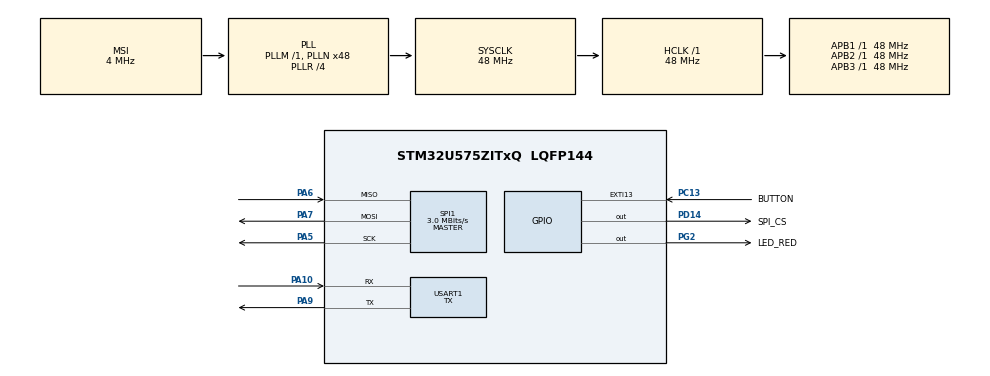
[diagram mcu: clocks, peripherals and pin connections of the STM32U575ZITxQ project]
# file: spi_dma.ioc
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CORTEX_M33_NS.userName=CORTEX_M33
GPDMA1.DESTINC_GPDMACH0=DMA_DINC_INCREMENTED
GPDMA1.DIRECTION_GPDMACH1=DMA_MEMORY_TO_PERIPH
GPDMA1.IPHANDLE_GPDMACH0-SIMPLEREQUEST_GPDMACH0=__NULL
GPDMA1.IPHANDLE_GPDMACH1-SIMPLEREQUEST_GPDMACH1=__NULL
GPDMA1.REQUEST_GPDMACH0=GPDMA1_REQUEST_SPI1_RX
GPDMA1.REQUEST_GPDMACH1=GPDMA1_REQUEST_SPI1_TX
GPDMA1.SRCINC_GPDMACH1=DMA_SINC_INCREMENTED
Mcu.Family=STM32U5
Mcu.Name=STM32U575ZITxQ
Mcu.Package=LQFP144
NVIC.EXTI13_IRQn=true\:5\:0\:true\:false\:true\:true\:true\:true
NVIC.GPDMA1_Channel0_IRQn=true\:5\:0\:true\:false\:true\:false\:true\:true
NVIC.GPDMA1_Channel1_IRQn=true\:5\:0\:true\:false\:true\:false\:true\:true
NVIC.PriorityGroup=NVIC_PRIORITYGROUP_4
NVIC.SPI1_IRQn=true\:5\:0\:true\:false\:true\:true\:true\:true
PA10.Mode=Asynchronous
PA10.Signal=USART1_RX
PA5.Mode=Full_Duplex_Master
PA5.Signal=SPI1_SCK
PA6.Mode=Full_Duplex_Master
PA6.Signal=SPI1_MISO
PA7.Mode=Full_Duplex_Master
PA7.Signal=SPI1_MOSI
PA9.Mode=Asynchronous
PA9.Signal=USART1_TX
PC13.GPIO_Label=BUTTON
PC13.GPIO_ModeDefaultEXTI=GPIO_MODE_IT_RISING_FALLING
PC13.Signal=GPXTI13
PC14-OSC32_IN\ (PC14).Mode=LSE-External-Oscillator
PC14-OSC32_IN\ (PC14).Signal=RCC_OSC32_IN
PC15-OSC32_OUT\ (PC15).Mode=LSE-External-Oscillator
PC15-OSC32_OUT\ (PC15).Signal=RCC_OSC32_OUT
PD14.GPIO_Label=SPI_CS
PD14.PinState=GPIO_PIN_SET
PD14.Signal=GPIO_Output
PG2.GPIO_Label=LED_RED
PG2.Signal=GPIO_Output
PWR.PowerMode=PWR_SMPS_SUPPLY
ProjectManager.HeapSize=0x200
ProjectManager.StackSize=0x400
ProjectManager.TargetToolchain=STM32CubeIDE
RCC.ADCFreq_Value=16000000
RCC.AHBFreq_Value=48000000
RCC.APB1Freq_Value=48000000
RCC.APB1TimFreq_Value=48000000
RCC.APB2Freq_Value=48000000
RCC.APB2TimFreq_Value=48000000
RCC.APB3Freq_Value=48000000
RCC.CortexFreq_Value=48000000
RCC.EPOD_VALUE=4000000
RCC.HCLKFreq_Value=48000000
RCC.HSE_VALUE=16000000
RCC.HSI48_VALUE=48000000
RCC.HSI_VALUE=16000000
RCC.LSIDIV_VALUE=32000
RCC.MSIAutoCalibration=PLLMODE_MSIS
RCC.MSI_VALUE=4000000
RCC.PLL1R=4
RCC.PLLN=48
RCC.SYSCLKFreq_VALUE=48000000
RCC.SYSCLKSource=RCC_SYSCLKSOURCE_PLLCLK
RCC.USBFreq_Value=48000000
RCC.VCOOutputFreq_Value=192000000
SPI1.BaudRatePrescaler=SPI_BAUDRATEPRESCALER_16
SPI1.CLKPhase=SPI_PHASE_2EDGE
SPI1.CLKPolarity=SPI_POLARITY_HIGH
SPI1.CalculateBaudRate=3.0 MBits/s
SPI1.DataSize=SPI_DATASIZE_8BIT
SPI1.Direction=SPI_DIRECTION_2LINES
SPI1.Mode=SPI_MODE_MASTER
SPI1.VirtualType=VM_MASTER
USART1.Mode=MODE_TX
USART1.VirtualMode-Asynchronous=VM_ASYNC
VP_GPDMA1_VS_GPDMACH0.Mode=SIMPLEREQUEST_GPDMACH0
VP_GPDMA1_VS_GPDMACH1.Mode=SIMPLEREQUEST_GPDMACH1
VP_ICACHE_VS_ICACHE.Mode=DirectMappedCache
VP_LPBAMQUEUE_VS_QUEUE.Mode=QUEUEMODE
VP_LPBAM_VS_SIG1.Mode=SmartRun
VP_LPBAM_VS_SIG4.Mode=LPDMA1
VP_MEMORYMAP_VS_MEMORYMAP.Mode=CurAppReg
VP_PWR_VS_LPOM.Mode=PowerOptimisation
VP_PWR_VS_SECSignals.Mode=Security/Privilege
board=custom

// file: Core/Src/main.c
/* USER CODE BEGIN Header */
/**
  ******************************************************************************
  * @file           : main.c
  * @brief          : Main program body
  ******************************************************************************
  * @attention
  *
  * Copyright (c) 2025 STMicroelectronics.
  * All rights reserved.
  *
  * This software is licensed under terms that can be found in the LICENSE file
  * in the root directory of this software component.
  * If no LICENSE file comes with this software, it is provided AS-IS.
  *
  ******************************************************************************
  */
/* USER CODE END Header */
#include "main.h"

/* USER CODE BEGIN Includes */
#include <stdio.h>
#include <string.h>
#include "interrupt_callbacks.h"
/* USER CODE END Includes */

SPI_HandleTypeDef hspi1;
DMA_HandleTypeDef handle_GPDMA1_Channel1;
DMA_HandleTypeDef handle_GPDMA1_Channel0;

UART_HandleTypeDef huart1;

/* USER CODE BEGIN PV */
const uint8_t ADXL343_RD_MASK = 0x80;
const uint8_t ADXL343_WR_MASK = 0x00;
const uint8_t ADXL343_MULTIBYTE_MASK = 0x40;
const uint8_t ADXL343_REG_POWER_CTL = 0x2d; // POWER_CTL register
const uint8_t ADXL343_REG_XDATA0 = 0x32; // X-Axis Data 0 register
/* USER CODE END PV */

void SystemClock_Config(void);
static void SystemPower_Config(void);
static void MX_GPIO_Init(void);
static void MX_GPDMA1_Init(void);
static void MX_ICACHE_Init(void);
static void MX_SPI1_Init(void);
static void MX_USART1_UART_Init(void);

int main(void)
{

  /* USER CODE BEGIN 1 */
  HAL_StatusTypeDef status;
  uint8_t spi_tx_buf[16];
  uint8_t spi_rx_buf[16];
  /* USER CODE END 1 */

  /* MCU Configuration--------------------------------------------------------*/

  /* Reset of all peripherals, Initializes the Flash interface and the Systick. */
  HAL_Init();

  /* Configure the System Power */
  SystemPower_Config();

  /* Configure the system clock */
  SystemClock_Config();

  /* Initialize all configured peripherals */
  MX_GPIO_Init();
  MX_GPDMA1_Init();
  MX_ICACHE_Init();
  MX_SPI1_Init();
  MX_USART1_UART_Init();
  /* USER CODE BEGIN 2 */
  printf("\r******* Start *******\r\n");

  // ADXL343 configuration (enable acquisition)
  spi_tx_buf[0] = ADXL343_WR_MASK | ADXL343_REG_POWER_CTL;
  spi_tx_buf[1] = 0x08; // Measure mode
  HAL_GPIO_WritePin(SPI_CS_GPIO_Port, SPI_CS_Pin, GPIO_PIN_RESET);
  status = HAL_SPI_Transmit_DMA(&hspi1, spi_tx_buf, 2U);
  if (status != HAL_OK) {
	  printf("Error at SPI transmit\r\n");
  }
  while (spi_tx_cplt == 0U) {} // Wait for completion
  spi_tx_cplt = 0U;
  HAL_GPIO_WritePin(SPI_CS_GPIO_Port, SPI_CS_Pin, GPIO_PIN_SET);
  /* USER CODE END 2 */

  /* Infinite loop */
  /* USER CODE BEGIN WHILE */
  while (1)
  {
	  if (spi_txrx_cplt) {
		  spi_txrx_cplt = 0U;

		  HAL_GPIO_WritePin(SPI_CS_GPIO_Port, SPI_CS_Pin, GPIO_PIN_SET);

		  printf("Raw RX data: [0x%x, 0x%x, 0x%x, 0x%x, 0x%x, 0x%x]\r\n",
				  spi_rx_buf[1], spi_rx_buf[2],
				  spi_rx_buf[3], spi_rx_buf[4],
				  spi_rx_buf[5], spi_rx_buf[6]);
		  int16_t temp = (int16_t)((((uint16_t)spi_rx_buf[2]) << 8) | ((uint16_t)spi_rx_buf[1]));
		  int32_t accel_x = (int32_t)temp * 3906 / 1000;
		  temp = (int16_t)((((uint16_t)spi_rx_buf[4]) << 8) | ((uint16_t)spi_rx_buf[3]));
		  int32_t accel_y = (int32_t)temp * 3906 / 1000;
		  temp = (int16_t)((((uint16_t)spi_rx_buf[6]) << 8) | ((uint16_t)spi_rx_buf[5]));
		  int32_t accel_z = (int32_t)temp * 3906 / 1000;
		  printf("X: %ld mg, Y: %ld mg, Z: %ld mg\r\n", accel_x, accel_y, accel_z);
	  }

	  if (button_rising) {
		  button_rising = 0U;
		  HAL_GPIO_WritePin(LED_RED_GPIO_Port, LED_RED_Pin, GPIO_PIN_SET);

		  // Transmit and receive
		  memset(spi_tx_buf, 0U, 7U); // Clear TX buffer
		  spi_tx_buf[0] = ADXL343_RD_MASK | ADXL343_MULTIBYTE_MASK | ADXL343_REG_XDATA0;
		  HAL_GPIO_WritePin(SPI_CS_GPIO_Port, SPI_CS_Pin, GPIO_PIN_RESET);
		  status = HAL_SPI_TransmitReceive_DMA(&hspi1, spi_tx_buf, spi_rx_buf, 7U);
		  if (status != HAL_OK) {
			  printf("Error at SPI transmit/receive\r\n");
		  }
	  }

	  if (button_falling) {
		  button_falling = 0U;
		  HAL_GPIO_WritePin(LED_RED_GPIO_Port, LED_RED_Pin, GPIO_PIN_RESET);
	  }
    /* USER CODE END WHILE */

  }
}

void SystemClock_Config(void)
{
  RCC_OscInitTypeDef RCC_OscInitStruct = {0};
  RCC_ClkInitTypeDef RCC_ClkInitStruct = {0};

  /** Configure the main internal regulator output voltage
  */
  if (HAL_PWREx_ControlVoltageScaling(PWR_REGULATOR_VOLTAGE_SCALE3) != HAL_OK)
  {
    Error_Handler();
  }

  /** Configure LSE Drive Capability
  */
  HAL_PWR_EnableBkUpAccess();
  __HAL_RCC_LSEDRIVE_CONFIG(RCC_LSEDRIVE_LOW);

  /** Initializes the CPU, AHB and APB buses clocks
  */
  RCC_OscInitStruct.OscillatorType = RCC_OSCILLATORTYPE_LSE|RCC_OSCILLATORTYPE_MSI;
  RCC_OscInitStruct.LSEState = RCC_LSE_ON;
  RCC_OscInitStruct.MSIState = RCC_MSI_ON;
  RCC_OscInitStruct.MSICalibrationValue = RCC_MSICALIBRATION_DEFAULT;
  RCC_OscInitStruct.MSIClockRange = RCC_MSIRANGE_4;
  RCC_OscInitStruct.PLL.PLLState = RCC_PLL_ON;
  RCC_OscInitStruct.PLL.PLLSource = RCC_PLLSOURCE_MSI;
  RCC_OscInitStruct.PLL.PLLMBOOST = RCC_PLLMBOOST_DIV1;
  RCC_OscInitStruct.PLL.PLLM = 1;
  RCC_OscInitStruct.PLL.PLLN = 48;
  RCC_OscInitStruct.PLL.PLLP = 2;
  RCC_OscInitStruct.PLL.PLLQ = 2;
  RCC_OscInitStruct.PLL.PLLR = 4;
  RCC_OscInitStruct.PLL.PLLRGE = RCC_PLLVCIRANGE_0;
  RCC_OscInitStruct.PLL.PLLFRACN = 0;
  if (HAL_RCC_OscConfig(&RCC_OscInitStruct) != HAL_OK)
  {
    Error_Handler();
  }

  /** Initializes the CPU, AHB and APB buses clocks
  */
  RCC_ClkInitStruct.ClockType = RCC_CLOCKTYPE_HCLK|RCC_CLOCKTYPE_SYSCLK
                              |RCC_CLOCKTYPE_PCLK1|RCC_CLOCKTYPE_PCLK2
                              |RCC_CLOCKTYPE_PCLK3;
  RCC_ClkInitStruct.SYSCLKSource = RCC_SYSCLKSOURCE_PLLCLK;
  RCC_ClkInitStruct.AHBCLKDivider = RCC_SYSCLK_DIV1;
  RCC_ClkInitStruct.APB1CLKDivider = RCC_HCLK_DIV1;
  RCC_ClkInitStruct.APB2CLKDivider = RCC_HCLK_DIV1;
  RCC_ClkInitStruct.APB3CLKDivider = RCC_HCLK_DIV1;

  if (HAL_RCC_ClockConfig(&RCC_ClkInitStruct, FLASH_LATENCY_1) != HAL_OK)
  {
    Error_Handler();
  }

  /** Enable MSI Auto calibration
  */
  HAL_RCCEx_EnableMSIPLLModeSelection(RCC_MSISPLL_MODE_SEL);
  HAL_RCCEx_EnableMSIPLLMode();
}

/**
  * @brief Power Configuration
  * @retval None
  */
static void SystemPower_Config(void)
{
  HAL_PWREx_EnableVddIO2();

  /*
   * Switch to SMPS regulator instead of LDO
   */
  if (HAL_PWREx_ConfigSupply(PWR_SMPS_SUPPLY) != HAL_OK)
  {
    Error_Handler();
  }
}

static void MX_GPDMA1_Init(void)
{

  /* Peripheral clock enable */
  __HAL_RCC_GPDMA1_CLK_ENABLE();

  /* GPDMA1 interrupt Init */
    HAL_NVIC_SetPriority(GPDMA1_Channel0_IRQn, 5, 0);
    HAL_NVIC_EnableIRQ(GPDMA1_Channel0_IRQn);
    HAL_NVIC_SetPriority(GPDMA1_Channel1_IRQn, 5, 0);
    HAL_NVIC_EnableIRQ(GPDMA1_Channel1_IRQn);

}

static void MX_ICACHE_Init(void)
{

  /** Enable instruction cache in 1-way (direct mapped cache)
  */
  if (HAL_ICACHE_ConfigAssociativityMode(ICACHE_1WAY) != HAL_OK)
  {
    Error_Handler();
  }
  if (HAL_ICACHE_Enable() != HAL_OK)
  {
    Error_Handler();
  }

}

static void MX_SPI1_Init(void)
{

  SPI_AutonomousModeConfTypeDef HAL_SPI_AutonomousMode_Cfg_Struct = {0};

  /* SPI1 parameter configuration*/
  hspi1.Instance = SPI1;
  hspi1.Init.Mode = SPI_MODE_MASTER;
  hspi1.Init.Direction = SPI_DIRECTION_2LINES;
  hspi1.Init.DataSize = SPI_DATASIZE_8BIT;
  hspi1.Init.CLKPolarity = SPI_POLARITY_HIGH;
  hspi1.Init.CLKPhase = SPI_PHASE_2EDGE;
  hspi1.Init.NSS = SPI_NSS_SOFT;
  hspi1.Init.BaudRatePrescaler = SPI_BAUDRATEPRESCALER_16;
  hspi1.Init.FirstBit = SPI_FIRSTBIT_MSB;
  hspi1.Init.TIMode = SPI_TIMODE_DISABLE;
  hspi1.Init.CRCCalculation = SPI_CRCCALCULATION_DISABLE;
  hspi1.Init.CRCPolynomial = 0x7;
  hspi1.Init.NSSPMode = SPI_NSS_PULSE_DISABLE;
  hspi1.Init.NSSPolarity = SPI_NSS_POLARITY_LOW;
  hspi1.Init.FifoThreshold = SPI_FIFO_THRESHOLD_01DATA;
  hspi1.Init.MasterSSIdleness = SPI_MASTER_SS_IDLENESS_00CYCLE;
  hspi1.Init.MasterInterDataIdleness = SPI_MASTER_INTERDATA_IDLENESS_00CYCLE;
  hspi1.Init.MasterReceiverAutoSusp = SPI_MASTER_RX_AUTOSUSP_DISABLE;
  hspi1.Init.MasterKeepIOState = SPI_MASTER_KEEP_IO_STATE_DISABLE;
  hspi1.Init.IOSwap = SPI_IO_SWAP_DISABLE;
  hspi1.Init.ReadyMasterManagement = SPI_RDY_MASTER_MANAGEMENT_INTERNALLY;
  hspi1.Init.ReadyPolarity = SPI_RDY_POLARITY_HIGH;
  if (HAL_SPI_Init(&hspi1) != HAL_OK)
  {
    Error_Handler();
  }
  HAL_SPI_AutonomousMode_Cfg_Struct.TriggerState = SPI_AUTO_MODE_DISABLE;
  HAL_SPI_AutonomousMode_Cfg_Struct.TriggerSelection = SPI_GRP1_GPDMA_CH0_TCF_TRG;
  HAL_SPI_AutonomousMode_Cfg_Struct.TriggerPolarity = SPI_TRIG_POLARITY_RISING;
  if (HAL_SPIEx_SetConfigAutonomousMode(&hspi1, &HAL_SPI_AutonomousMode_Cfg_Struct) != HAL_OK)
  {
    Error_Handler();
  }

}

static void MX_USART1_UART_Init(void)
{

  huart1.Instance = USART1;
  huart1.Init.BaudRate = 115200;
  huart1.Init.WordLength = UART_WORDLENGTH_8B;
  huart1.Init.StopBits = UART_STOPBITS_1;
  huart1.Init.Parity = UART_PARITY_NONE;
  huart1.Init.Mode = UART_MODE_TX;
  huart1.Init.HwFlowCtl = UART_HWCONTROL_NONE;
  huart1.Init.OverSampling = UART_OVERSAMPLING_16;
  huart1.Init.OneBitSampling = UART_ONE_BIT_SAMPLE_DISABLE;
  huart1.Init.ClockPrescaler = UART_PRESCALER_DIV1;
  huart1.AdvancedInit.AdvFeatureInit = UART_ADVFEATURE_NO_INIT;
  if (HAL_UART_Init(&huart1) != HAL_OK)
  {
    Error_Handler();
  }
  if (HAL_UARTEx_SetTxFifoThreshold(&huart1, UART_TXFIFO_THRESHOLD_1_8) != HAL_OK)
  {
    Error_Handler();
  }
  if (HAL_UARTEx_SetRxFifoThreshold(&huart1, UART_RXFIFO_THRESHOLD_1_8) != HAL_OK)
  {
    Error_Handler();
  }
  if (HAL_UARTEx_DisableFifoMode(&huart1) != HAL_OK)
  {
    Error_Handler();
  }

}

static void MX_GPIO_Init(void)
{
  GPIO_InitTypeDef GPIO_InitStruct = {0};

  /* GPIO Ports Clock Enable */
  __HAL_RCC_GPIOC_CLK_ENABLE();
  __HAL_RCC_GPIOA_CLK_ENABLE();
  __HAL_RCC_GPIOD_CLK_ENABLE();
  __HAL_RCC_GPIOG_CLK_ENABLE();

  /*Configure GPIO pin Output Level */
  HAL_GPIO_WritePin(SPI_CS_GPIO_Port, SPI_CS_Pin, GPIO_PIN_SET);

  /*Configure GPIO pin Output Level */
  HAL_GPIO_WritePin(LED_RED_GPIO_Port, LED_RED_Pin, GPIO_PIN_RESET);

  /*Configure GPIO pin : BUTTON_Pin */
  GPIO_InitStruct.Pin = BUTTON_Pin;
  GPIO_InitStruct.Mode = GPIO_MODE_IT_RISING_FALLING;
  GPIO_InitStruct.Pull = GPIO_NOPULL;
  HAL_GPIO_Init(BUTTON_GPIO_Port, &GPIO_InitStruct);

  /*Configure GPIO pin : SPI_CS_Pin */
  GPIO_InitStruct.Pin = SPI_CS_Pin;
  GPIO_InitStruct.Mode = GPIO_MODE_OUTPUT_PP;
  GPIO_InitStruct.Pull = GPIO_NOPULL;
  GPIO_InitStruct.Speed = GPIO_SPEED_FREQ_LOW;
  HAL_GPIO_Init(SPI_CS_GPIO_Port, &GPIO_InitStruct);

  /*Configure GPIO pin : LED_RED_Pin */
  GPIO_InitStruct.Pin = LED_RED_Pin;
  GPIO_InitStruct.Mode = GPIO_MODE_OUTPUT_PP;
  GPIO_InitStruct.Pull = GPIO_NOPULL;
  GPIO_InitStruct.Speed = GPIO_SPEED_FREQ_LOW;
  HAL_GPIO_Init(LED_RED_GPIO_Port, &GPIO_InitStruct);

  /* EXTI interrupt init*/
  HAL_NVIC_SetPriority(EXTI13_IRQn, 5, 0);
  HAL_NVIC_EnableIRQ(EXTI13_IRQn);

}

/* USER CODE BEGIN 4 */
int __io_putchar(int ch)
{
	// Transmit 1 character over UART
	HAL_UART_Transmit(&huart1, (uint8_t*)&ch, 1U, HAL_MAX_DELAY);

	return ch;
}
/* USER CODE END 4 */

void Error_Handler(void)
{
  __disable_irq();
  while (1)
  {
  }
}
